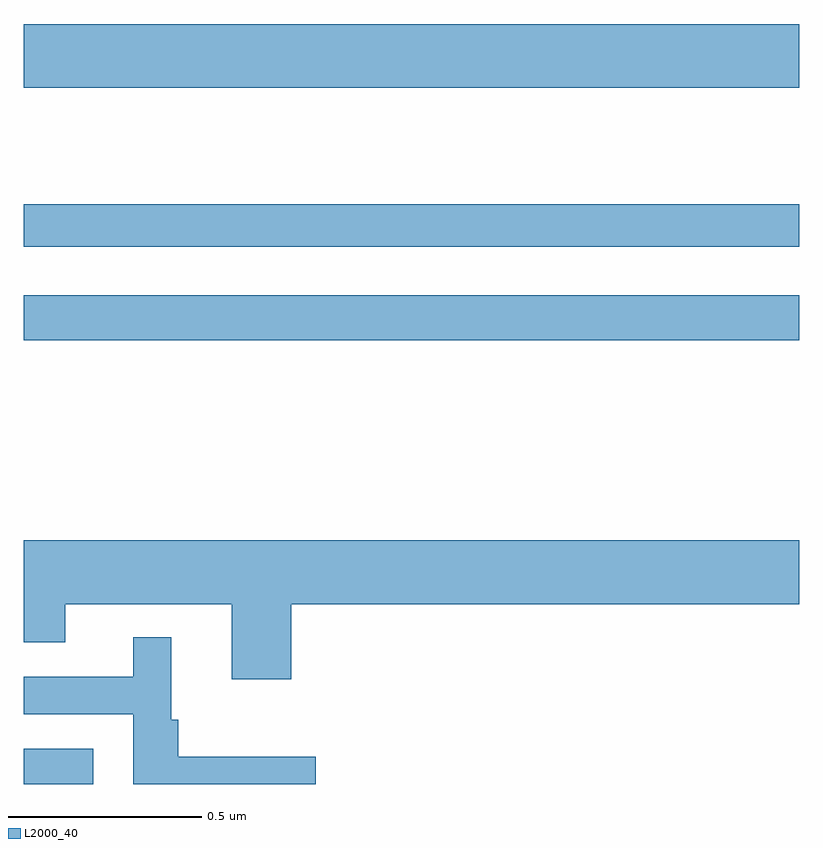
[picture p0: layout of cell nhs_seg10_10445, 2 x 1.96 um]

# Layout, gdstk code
import gdstk
lib = gdstk.Library(unit=1e-6, precision=1e-09)
def R(c, l, rs):  # rectangles x0, y0, x1, y1
    for r in rs: c.add(gdstk.rectangle(r[:2], r[2:], *l))
def P(c, l, *ps):  # polygons
    for p in ps: c.add(gdstk.Polygon(p, *l))
L2000_40 = (2000, 40)

nhs_seg10_10445 = lib.new_cell('nhs_seg10_10445')
R(nhs_seg10_10445, L2000_40, [(242,1318.5,242.179,1318.591), (242,1319.644,244,1319.76), (242,1319.886,244,1319.995), (242,1320.296,244,1320.46)])
P(nhs_seg10_10445, L2000_40, [(242.69,1318.964),(244,1318.964),(244,1319.128),(242,1319.128),(242,1318.865),(242.107,1318.865),(242.107,1318.964),(242.537,1318.964),(242.537,1318.77),(242.69,1318.77)],
  [(242.753,1318.57),(242.399,1318.57),(242.399,1318.666),(242.38,1318.666),(242.38,1318.879),(242.282,1318.879),(242.282,1318.776),(242,1318.776),(242,1318.68),(242.283,1318.68),(242.283,1318.5),(242.753,1318.5)])

lib.write_gds('nhs_seg10_10445.gds')
